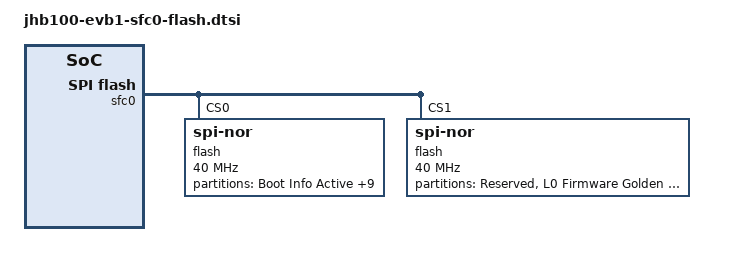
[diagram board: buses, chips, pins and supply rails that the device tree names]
// SPDX-License-Identifier: GPL-2.0 OR MIT
/*
 * Copyright (c) 2024 StarFive Technology Co., Ltd.
 */

&sfc0 {
	status = "okay";
	pinctrl-names = "default";
	pinctrl-0 = <&sfc0_pins>;

	flash@0 {
		compatible = "jedec,spi-nor";
		reg = <0>;
		spi-max-frequency = <40000000>;
		spi-tx-bus-width = <4>;
		spi-rx-bus-width = <4>;

		partitions {
			compatible = "fixed-partitions";
			#address-cells = <1>;
			#size-cells = <1>;

			partition@0 {
				label = "Boot Info Active";
				reg = <0x0 0x10000>;
			};

			partition@1 {
				label = "L0 Firmware Active";
				reg = <0x10000 0x80000>;
			};

			partition@2 {
				label = "L1 Firmware Active";
				reg = <0x90000 0x80000>;
			};

			partition@3 {
				label = "U-Boot SPL Active";
				reg = <0x110000 0x80000>;
			};

			partition@4 {
				label = "U-Boot FIT Active";
				reg = <0x190000 0x260000>;
			};

			partition@5 {
				label = "SFC I2C filter cfg Active";
				reg = <0x3f0000 0x10000>;
			};

			partition@6 {
				label = "U-Boot Environment";
				reg = <0x400000 0x10000>;
			};

			partition@7 {
				label = "User Data Area";
				reg = <0x410000 0x3df0000>;
			};

			partition@8 {
				label = "Kernel FIT Active (compressed)";
				reg = <0x4200000 0x1000000>;
			};

			partition@9 {
				label = "RootFS Active";
				reg = <0x5200000 0x2e00000>;
			};
		};
	};

	flash@1 {
		compatible = "jedec,spi-nor";
		reg = <1>;
		spi-max-frequency = <40000000>;
		spi-tx-bus-width = <4>;
		spi-rx-bus-width = <4>;

		partitions {
			compatible = "fixed-partitions";
			#address-cells = <1>;
			#size-cells = <1>;

			partition@0 {
				label = "Reserved";
				reg = <0x0 0x10000>;
			};

			partition@1 {
				label = "L0 Firmware Golden";
				reg = <0x10000 0x80000>;
			};

			partition@2 {
				label = "L1 Firmware Golden";
				reg = <0x90000 0x80000>;
			};

			partition@3 {
				label = "U-Boot SPL Golden";
				reg = <0x110000 0x80000>;
			};

			partition@4 {
				label = "U-Boot FIT Golden";
				reg = <0x190000 0x260000>;
			};

			partition@5 {
				label = "SFC I2C filter cfg Golden";
				reg = <0x3f0000 0x10000>;
			};

			partition@6 {
				label = "Kernel FIT Golden (compressed)";
				reg = <0x400000 0x1000000>;
			};

			partition@7 {
				label = "RootFS Golden";
				reg = <0x1410000 0x2ff0000>;
			};

			partition@8 {
				label = "Kernel FIT Temp (compressed)";
				reg = <0x4400000 0x1000000>;
			};

			partition@9 {
				label = "RootFS Temp";
				reg = <0x5400000 0x2c00000>;
			};
		};
	};
};
